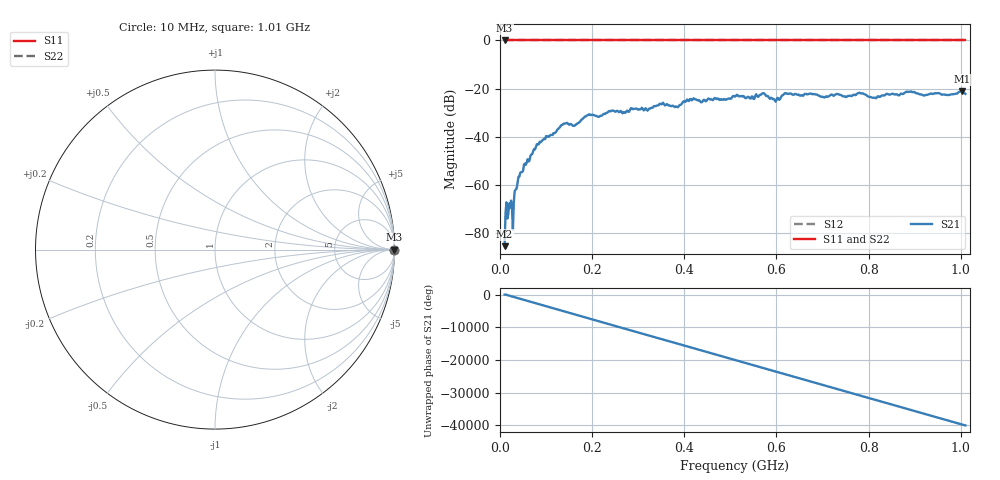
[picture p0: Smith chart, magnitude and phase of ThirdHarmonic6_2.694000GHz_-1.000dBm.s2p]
! 8/17/2025 6:24:43 AM
! C:\ANRITSUVNA\TEMP\TEMP.S2P
! CHANNEL.1
! TR.MEASUREMENT
! RAW.DATA
! RF.CORRECTION.OFF
! AVERAGING.OFF
! IF.BANDWIDTH: 5KHZ
! SWEEPTYPE:  FREQ.SWEEP(Linear)
! Reference Plane Port Info
! PORT:  PORT1  PORT2
! DISTANCE:  0  m  0  m
! TIME:  0  s  0  s
! PHASE.OFFSET:  0  deg.  0  deg.
! LOSS:  0  dB  0  dB
! REF.LOSS:  0  dB  0  dB
! REF.FREQ:  0  Hz  0  Hz
! Power Info
! POWER:  -20  dBm  -20  dBm
! EFF.POWER:  -20  dBm  -20  dBm
! SOURCE.ATTEN:  0  dB  0  dB
! TEST.ATTEN:  0  dB  0  dB
# GHZ S RI R 50.0
! FREQ.GHZ  S11RE  S11IM  S21RE  S21IM  S12RE  S12IM  S22RE  S22IM
!; PortSelection: Port_12
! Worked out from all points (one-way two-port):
!   501 points, 10 MHz to 1.01 GHz, reference 50 ohm
!   highest |S21| = -21.08 dB at 1.002 GHz (marker M1); lowest = -85.4 dB at 10 MHz (marker M2)
!   lowest |S11| = 0.0 dB at 10 MHz (marker M3)
!   |S11| at or under -10 dB: nowhere
!   |S22| runs from 0.0 to 0.0 dB; largest |S21 - S12| = 1.1
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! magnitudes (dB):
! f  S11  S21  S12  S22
! 10 MHz  0.0  -85.4  0.0  0.0
! 16 MHz  0.0  -73.9  0.0  0.0
! 26 MHz  0.0  -69.5  0.0  0.0
! 30 MHz  0.0  -66.9  0.0  0.0
! 36 MHz  0.0  -61.4  0.0  0.0
! 44 MHz  0.0  -54.9  0.0  0.0
! 82 MHz  0.0  -43.2  0.0  0.0
! 136 MHz  0.0  -35.0  0.0  0.0
! 162 MHz  0.0  -35.4  0.0  0.0
! 178 MHz  0.0  -32.8  0.0  0.0
! 344 MHz  0.0  -26.9  0.0  0.0
! 384 MHz  0.0  -27.6  0.0  0.0
! 416 MHz  0.0  -24.8  0.0  0.0
! 510 MHz  0.0  -23.3  0.0  0.0
! 572 MHz  0.0  -21.9  0.0  0.0
! 596 MHz  0.0  -24.6  0.0  0.0
! 620 MHz  0.0  -21.8  0.0  0.0
! 678 MHz  0.0  -22.3  0.0  0.0
! 812 MHz  0.0  -23.8  0.0  0.0
! 844 MHz  0.0  -22.5  0.0  0.0
! 1.002 GHz  0.0  -21.1  0.0  0.0
! 1.01 GHz  0.0  -22.2  0.0  0.0
